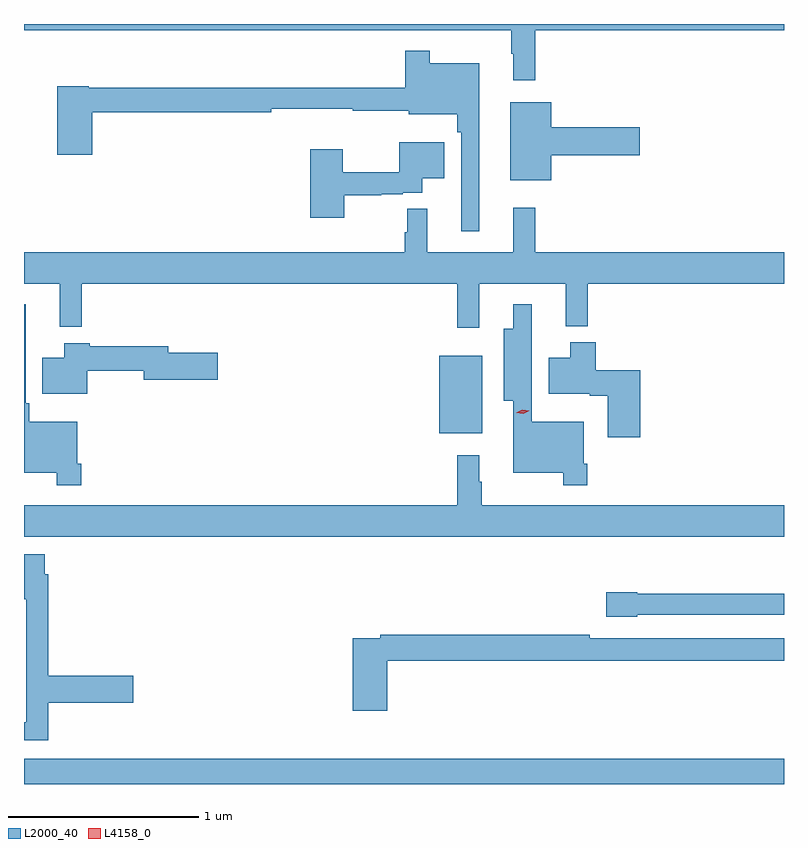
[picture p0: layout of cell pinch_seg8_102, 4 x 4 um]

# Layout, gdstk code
import gdstk
lib = gdstk.Library(unit=1e-6, precision=1e-09)
def R(c, l, rs):  # rectangles x0, y0, x1, y1
    for r in rs: c.add(gdstk.rectangle(r[:2], r[2:], *l))
def P(c, l, *ps):  # polygons
    for p in ps: c.add(gdstk.Polygon(p, *l))
L2000_40 = (2000, 40)
L4158_0 = (4158, 0)

pinch_seg8_102 = lib.new_cell('pinch_seg8_102')
R(pinch_seg8_102, L2000_40, [(1054.267,1104.542,1058.267,1104.676), (1056.452,1106.387,1056.679,1106.797)])
P(pinch_seg8_102, L2000_40, [(1056.959,1108.508),(1058.267,1108.508),(1058.267,1108.542),(1054.267,1108.542),(1054.267,1108.508),(1056.831,1108.508),(1056.831,1108.385),(1056.842,1108.385),(1056.842,1108.245),(1056.959,1108.245)],
  [(1056.664,1108.336),(1056.403,1108.336),(1056.403,1108.402),(1056.274,1108.402),(1056.274,1108.207),(1054.608,1108.207),(1054.608,1108.215),(1054.442,1108.215),(1054.442,1107.855),(1054.625,1107.855),(1054.625,1108.078),(1055.567,1108.078),(1055.567,1108.097),(1055.997,1108.097),(1055.997,1108.086),(1056.293,1108.086),(1056.293,1108.067),(1056.547,1108.067),(1056.547,1107.971),(1056.567,1107.971),(1056.567,1107.45),(1056.664,1107.45)],
  [(1057.042,1107.851),(1057.507,1107.851),(1057.507,1107.998),(1057.042,1107.998),(1057.042,1108.129),(1056.827,1108.129),(1056.827,1107.719),(1057.042,1107.719)],
  [(1055.952,1107.642),(1056.146,1107.642),(1056.146,1107.647),(1056.26,1107.647),(1056.26,1107.654),(1056.364,1107.654),(1056.364,1107.731),(1056.478,1107.731),(1056.478,1107.919),(1056.242,1107.919),(1056.242,1107.763),(1055.944,1107.763),(1055.944,1107.883),(1055.774,1107.883),(1055.774,1107.522),(1055.952,1107.522)],
  [(1056.663,1107.176),(1057.118,1107.176),(1057.118,1106.951),(1057.235,1106.951),(1057.235,1107.176),(1058.267,1107.176),(1058.267,1107.34),(1056.959,1107.34),(1056.959,1107.574),(1056.842,1107.574),(1056.842,1107.34),(1056.389,1107.34),(1056.389,1107.569),(1056.283,1107.569),(1056.283,1107.447),(1056.271,1107.447),(1056.271,1107.34),(1054.267,1107.34),(1054.267,1107.176),(1054.454,1107.176),(1054.454,1106.948),(1054.571,1106.948),(1054.571,1107.176),(1056.547,1107.176),(1056.547,1106.943),(1056.663,1106.943)],
  [(1054.568,1106.227),(1054.548,1106.227),(1054.548,1106.449),(1054.295,1106.449),(1054.295,1106.545),(1054.275,1106.545),(1054.275,1107.067),(1054.267,1107.067),(1054.267,1106.18),(1054.44,1106.18),(1054.44,1106.115),(1054.568,1106.115)],
  [(1057.232,1106.227),(1057.212,1106.227),(1057.212,1106.449),(1056.94,1106.449),(1056.94,1106.781),(1056.939,1106.781),(1056.939,1107.067),(1056.842,1107.067),(1056.842,1106.938),(1056.791,1106.938),(1056.791,1106.558),(1056.842,1106.558),(1056.842,1106.18),(1057.104,1106.18),(1057.104,1106.115),(1057.232,1106.115)],
  [(1057.511,1106.719),(1057.277,1106.719),(1057.277,1106.866),(1057.142,1106.866),(1057.142,1106.785),(1057.028,1106.785),(1057.028,1106.597),(1057.244,1106.597),(1057.244,1106.585),(1057.34,1106.585),(1057.34,1106.367),(1057.511,1106.367)],
  [(1054.6,1106.716),(1054.898,1106.716),(1054.898,1106.669),(1055.287,1106.669),(1055.287,1106.811),(1055.026,1106.811),(1055.026,1106.845),(1054.613,1106.845),(1054.613,1106.863),(1054.478,1106.863),(1054.478,1106.785),(1054.364,1106.785),(1054.364,1106.597),(1054.6,1106.597)],
  [(1058.267,1106.008),(1056.676,1106.008),(1056.676,1106.132),(1056.664,1106.132),(1056.664,1106.272),(1056.547,1106.272),(1056.547,1106.008),(1054.267,1106.008),(1054.267,1105.844),(1058.267,1105.844)],
  [(1054.394,1104.97),(1054.843,1104.97),(1054.843,1105.112),(1054.394,1105.112),(1054.394,1105.646),(1054.375,1105.646),(1054.375,1105.75),(1054.267,1105.75),(1054.267,1105.514),(1054.278,1105.514),(1054.278,1104.867),(1054.267,1104.867),(1054.267,1104.771),(1054.394,1104.771)],
  [(1057.494,1105.434),(1058.267,1105.434),(1058.267,1105.543),(1057.494,1105.543),(1057.494,1105.551),(1057.332,1105.551),(1057.332,1105.421),(1057.494,1105.421)],
  [(1056.179,1105.192),(1058.267,1105.192),(1058.267,1105.308),(1057.244,1105.308),(1057.244,1105.328),(1056.142,1105.328),(1056.142,1105.308),(1055.996,1105.308),(1055.996,1104.927),(1056.179,1104.927)])
P(pinch_seg8_102, L4158_0, [(1056.894,1106.492),(1056.859,1106.496),(1056.858,1106.496),(1056.859,1106.496),(1056.89,1106.511),(1056.925,1106.507),(1056.926,1106.507),(1056.925,1106.507)])

lib.write_gds('pinch_seg8_102.gds')
